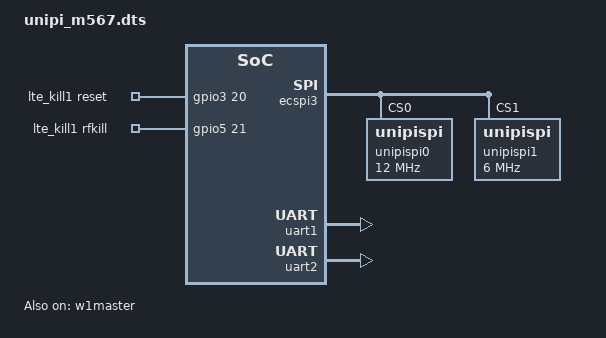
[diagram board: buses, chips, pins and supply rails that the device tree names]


/dts-v1/;
/plugin/;
/ {
	compatible = "unipi,zulu";

	fragment@0 {
		target = <&ecspi3>;
		__overlay__ {
			status = "okay";
			#address-cells = <1>;
			#size-cells = <0>;unipispi0: unipispi@0 {
				compatible = "unipispi";
				reg = <0>;
				spi-max-frequency = <12000000>;
				status = "okay";
				modbus-address = <1>;
				neuron-board-index = <0>;
				neuron-probe-always-succeeds = <0>;
				allow-protocol-v2 = <1>;
				#address-cells = <1>;
				#size-cells = <0>;
				iogroup1: iogroup1 {
					reg = <1>;
					compatible = "unipi,unipi-mfd", "iogroup";
					fw_variant = <0x0010>, <0x0020>, <0x0030>;
					fw_name = "B-1000-1", "B-1000-2", "B-1000-3";
					board_name = "B-1000-1";
					sys_board_name = "B_1000";
					cycle_counter = <1032>;
					master_watchdog_enable = <6>;

					di {
						compatible = "unipi,gpio-di";
						gpio-controller;
						#gpio-cells = <2>;
						gpio-line-names = "DI1_1", "DI1_2", "DI1_3", "DI1_4";
						ngpio = <4>;
						value-reg = <0>;
						debounce-reg = <1010>;
						counter-reg = <8>;
					};
					do {
						compatible = "unipi,gpio-do";
						ngpio = <4>;
						value-coil = <0>;
						gpio-controller;
						#gpio-cells = <2>;
						gpio-line-names = "DO1_1", "DO1_2", "DO1_3", "DO1_4";
					};
					aio {
						compatible = "unipi,aio_legacy";
						ai-value-reg = <3>;
						ai-mode-reg = <1024>;
						ao-value-reg = <2>;
						ao-mode-reg = <1019>;
					};
					uart {
						compatible = "unipi,uart";
						port-count = <1>;
						port-line = <0>;
					};
					led {
						compatible = "unipi,leds";
						coil-range = <8 4>;
						label-prefix = "unipi:green:uled-x";
					};
					sysleds0:sysled {
						compatible = "unipi,leds";
						coil-range = <12 6>;
						#address-cells = <1>;
						#size-cells = <0>;
						label-prefix = "unipi:green:sysled-x";
					};
				};
			};
		unipispi1: unipispi@1 {
				compatible = "unipispi";
				reg = <1>;
				spi-max-frequency = <6000000>;
				status = "okay";
				modbus-address = <2>;
				neuron-board-index = <1>;
				neuron-probe-always-succeeds = <0>;
				allow-protocol-v2 = <1>;
				#address-cells = <1>;
				#size-cells = <0>;
				iogroup2: iogroup2 {
					reg = <2>;
					compatible = "unipi,unipi-mfd", "iogroup";
					fw_variant = <0x1310>;
					fw_name = "E-4Ai4Ao_U-4Di5Ro-1";
					board_name = "E-4Ai4Ao-1";
					sys_board_name = "E_4Ai4Ao_U_4Di5Ro";
					cycle_counter = <1024>;
					master_watchdog_enable = <14>;

					di {
						compatible = "unipi,gpio-di";
						gpio-controller;
						#gpio-cells = <2>;
						gpio-line-names = "DI1_1","DI1_2","DI1_3","DI1_4";
						ngpio = <4>;
						value-reg = <0>;
						debounce-reg = <1010>;
						counter-reg = <16>;
					};
					do {
						compatible = "unipi,gpio-ro";
						ngpio = <5>;
						value-coil = <0>;
						gpio-controller;
						#gpio-cells = <2>;
						gpio-line-names = "RO1_1","RO1_2","RO1_3","RO1_4","RO1_5";
					};
					ai_chip {
						compatible = "unipi,ai";
						io-count = <4>;
						io-value-reg = <6>;
						io-mode-reg = <1019>;
					};
					ao_chip {
						compatible = "unipi,ao";
						io-count = <4>;
						io-value-reg = <2>;
					};
					uart {
						compatible = "unipi,uart";
						port-count = <1>;
						port-line = <1>;
					};
				};
			};
		
		};
	};

	fragment@1 {
		target = <&usbotg1>;
		__overlay__ {
			#address-cells = <1>;
			#size-cells = <0>;
			usbslot1@1 {
				reg = <1>;
			};
		};
	};
	fragment@5 {
		target = <&w1master>;
		__overlay__ {
			status = "okay";
		};
	};

	
	fragment@10 {
		target = <&uart1>;
		__overlay__ {
			status = "okay";
			linux,rs485-enabled-at-boot-time;
		};
	};
	fragment@11 {
		target = <&uart2>;
		__overlay__ {
			status = "okay";
		};
	};

	fragment@12 {
		target-path = "/";
		__overlay__ {
			lte_kill1 {
				compatible = "unipi,rfkill-quectel912";
				type = "wwan";
				algo = "pulse";
				reset-gpio = <&gpio3 20 0>;
				rfkill-gpio = <&gpio5 21 0>;
				monitor-usb = "usbslot1";
			};
		};
	}; 

};


&iogroup1 {
	pinctrl-names = "default";
	pinctrl-0 = <&pinctrl_slotirq0>; 
	interrupt-parent = <&gpio4>;
	interrupts = <23 1>; /* EDGE RISING*/
};







&sysleds0 {
	lte-sim@0 {
		reg = <0>;
	};
	lte-net@1 {
		reg = <1>;
	};
	lte-sig@2 {
		reg = <2>;
	};
	lte-int@3 {
		reg = <3>;
	};
	rs485-2-txled@4 {
		reg = <4>;
		linux,default-trigger = "ttymxc0-tx";
	};
	rs485-2-rxled@5 {
		reg = <5>;
		linux,default-trigger = "ttymxc0-rx";
	};
};
